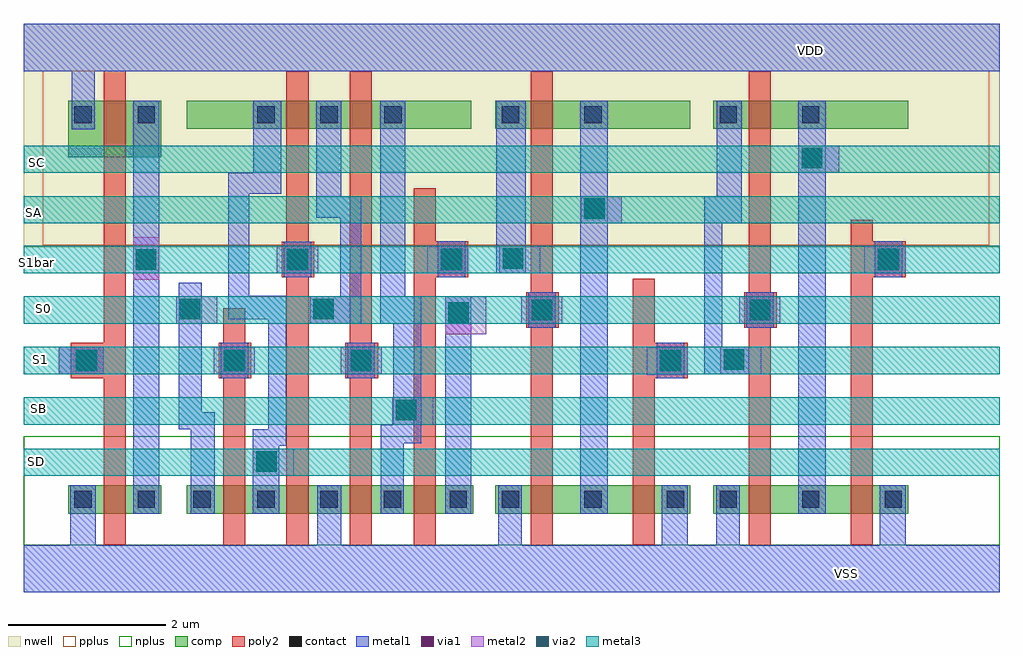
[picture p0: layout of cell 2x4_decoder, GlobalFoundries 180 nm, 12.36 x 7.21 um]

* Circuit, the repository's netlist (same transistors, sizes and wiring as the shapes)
** sch_path: /foss/designs/engn1600-team1/CAD4/2x4_decoder.sch
.subckt 2x4_decoder VDD VSS S0 S1 SA SB SC SD
*.PININFO S0:I S1:I SA:O SB:O SC:O SD:O VSS:B VDD:B
M1 S1bar S1 VSS VSS nfet_03v3 L=0.28u W=0.36u nf=1 m=1
M2 S1bar S1 VDD VDD pfet_03v3 L=0.28u W=0.72u nf=1 m=1
M3 SA S0 VSS VSS nfet_03v3 L=0.28u W=0.36u nf=1 m=1
M4 SA S1 VSS VSS nfet_03v3 L=0.28u W=0.36u nf=1 m=1
M5 SA S0 S1bar VDD pfet_03v3 L=0.28u W=0.36u nf=1 m=1
M9 S0 S1 SB VDD pfet_03v3 L=0.28u W=0.36u nf=1 m=1
M10 S0 S1bar SB VSS nfet_03v3 L=0.28u W=0.36u nf=1 m=1
M11 VSS S1 SB VSS nfet_03v3 L=0.28u W=0.36u nf=1 m=1
M12 S0 S1bar SD VDD pfet_03v3 L=0.28u W=0.36u nf=1 m=1
M13 S0 S1 SD VSS nfet_03v3 L=0.28u W=0.36u nf=1 m=1
M14 VSS S1bar SD VSS nfet_03v3 L=0.28u W=0.36u nf=1 m=1
M6 SC S0 VSS VSS nfet_03v3 L=0.28u W=0.36u nf=1 m=1
M7 SC S1bar VSS VSS nfet_03v3 L=0.28u W=0.36u nf=1 m=1
M8 SC S0 S1 VDD pfet_03v3 L=0.28u W=0.36u nf=1 m=1
.ends

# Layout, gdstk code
import gdstk
lib = gdstk.Library(unit=1e-6, precision=5e-09)
def R(c, l, rs):  # rectangles x0, y0, x1, y1
    for r in rs: c.add(gdstk.rectangle(r[:2], r[2:], *l))
def A(c, l, x, y, w, h, nx, ny, dx, dy):  # array of equal rectangles
    R(c, l, [(x+i*dx, y+j*dy, x+i*dx+w, y+j*dy+h) for i in range(nx) for j in range(ny)])
nwell = (21, 0)
comp = (22, 0)
poly2 = (30, 0)
pplus = (31, 0)
nplus = (32, 0)
contact = (33, 0)
metal1 = (34, 0)
via1 = (35, 0)
metal2 = (36, 0)
via2 = (38, 0)
metal3 = (42, 0)

c_2x4_decoder = lib.new_cell('2x4_decoder')
R(c_2x4_decoder, nwell, [(0,4.07,12.36,6.9)])
R(c_2x4_decoder, comp, [(0.565,0.7,1.745,1.06), (2.07,0.7,5.695,1.06), (5.975,0.7,8.445,1.06), (8.735,0.7,11.205,1.06), (0.565,5.21,1.745,5.93), (2.07,5.57,5.67,5.93), (5.975,5.57,8.445,5.93), (8.735,5.57,11.205,5.93)])
R(c_2x4_decoder, poly2, [(2.53,0.3,2.81,3.3), (3.33,0.3,3.61,6.3), (4.13,0.3,4.41,6.3), (4.94,0.3,5.22,4.82), (6.425,0.3,6.705,6.3), (9.185,0.3,9.465,6.3), (1.015,0.305,1.295,6.31), (7.715,0.305,7.995,3.67), (10.475,0.305,10.755,4.42), (0.6,2.41,1.015,2.86), (2.47,2.41,2.885,2.86), (4.075,2.41,4.49,2.86), (7.995,2.41,8.41,2.86), (6.365,3.05,6.78,3.5), (9.125,3.05,9.54,3.5), (3.27,3.69,3.685,4.14), (5.22,3.695,5.635,4.145), (10.755,3.695,11.17,4.145)])
R(c_2x4_decoder, pplus, [(0.245,4.095,12.23,6.305)])
R(c_2x4_decoder, nplus, [(0,0.3,12.36,1.68)])
A(c_2x4_decoder, contact, 6.055, 0.77, 0.22, 0.22, 3, 1, 1.045, 0)
A(c_2x4_decoder, contact, 8.815, 0.77, 0.22, 0.22, 3, 1, 1.045, 0)
R(c_2x4_decoder, contact, [(0.645,0.77,0.865,0.99), (1.445,0.77,1.665,0.99), (2.15,0.77,2.37,0.99), (2.96,0.77,3.18,0.99), (3.76,0.77,3.98,0.99), (4.565,0.77,4.785,0.99), (5.395,0.77,5.615,0.99), (0.69,2.525,0.91,2.745), (2.56,2.525,2.78,2.745), (2.56,2.525,2.78,2.745), (4.165,2.525,4.385,2.745), (8.085,2.525,8.305,2.745), (6.455,3.165,6.675,3.385), (9.215,3.165,9.435,3.385), (3.36,3.805,3.58,4.025), (5.31,3.81,5.53,4.03), (10.845,3.81,11.065,4.03), (0.645,5.64,0.865,5.86), (1.445,5.64,1.665,5.86), (2.96,5.64,3.18,5.86), (3.76,5.64,3.98,5.86), (4.57,5.64,4.79,5.86), (6.055,5.64,6.275,5.86), (7.1,5.64,7.32,5.86), (8.815,5.64,9.035,5.86), (9.86,5.64,10.08,5.86)])
R(c_2x4_decoder, metal1, [(0,-0.3,12.36,0.3), (0.595,-0.3,0.915,1.055), (3.72,0.295,4.025,1.06), (6.015,0.3,6.31,1.06), (8.085,0.3,8.415,1.06), (8.775,0.3,9.07,1.06), (10.845,0.3,11.175,1.06), (1.39,0.7,1.72,5.93), (2.115,0.7,2.42,1.77), (2.905,0.7,3.24,1.765), (4.525,0.7,4.815,1.825), (5.34,0.7,5.67,3.45), (7.05,0.7,7.4,5.93), (9.81,0.7,10.16,5.93), (2.905,1.555,3.33,1.765), (3.1,1.555,3.33,3.46), (4.525,1.59,4.935,1.825), (4.685,1.59,5.035,3.45), (1.965,1.77,2.255,3.62), (1.98,1.77,2.42,1.985), (2.495,2.41,2.845,2.86), (4.1,2.41,4.45,2.86), (8.02,2.41,8.37,2.86), (0.445,2.465,1.015,2.81), (8.62,2.465,9.185,2.81), (8.62,2.465,8.85,4.715), (6.39,3.05,6.74,3.5), (9.15,3.05,9.5,3.5), (3.625,3.105,4.28,3.45), (4.01,3.105,4.28,4.72), (4.515,3.105,4.835,5.93), (2.59,3.16,3.33,3.46), (2.595,3.16,2.86,5.015), (3.295,3.69,3.645,4.14), (5.245,3.695,5.595,4.145), (10.78,3.695,11.13,4.145), (5.99,3.745,6.36,5.93), (8.78,4.375,9.095,5.93), (3.71,4.445,4.28,4.72), (3.71,4.72,4.025,5.93), (2.59,4.75,3.265,5.015), (2.91,4.75,3.265,5.93), (0.61,5.565,0.9,6.905), (0,6.3,12.36,6.9)])
R(c_2x4_decoder, via1, [(2.95,1.23,3.21,1.49), (2.95,1.23,3.21,1.49), (4.715,1.88,4.975,2.14), (4.715,1.88,4.975,2.14), (0.67,2.505,0.93,2.765), (2.54,2.505,2.8,2.765), (2.54,2.505,2.8,2.765), (4.145,2.505,4.405,2.765), (8.065,2.505,8.325,2.765), (8.87,2.52,9.13,2.78), (5.38,3.115,5.64,3.375), (6.435,3.145,6.695,3.405), (9.195,3.145,9.455,3.405), (1.98,3.16,2.24,3.42), (3.67,3.16,3.93,3.42), (1.42,3.785,1.68,4.045), (3.34,3.785,3.6,4.045), (5.29,3.79,5.55,4.05), (10.825,3.79,11.085,4.05), (6.07,3.8,6.33,4.06), (7.1,4.43,7.36,4.69), (9.855,5.07,10.115,5.33)])
R(c_2x4_decoder, metal2, [(2.905,1.175,3.425,1.52), (2.905,1.175,3.425,1.52), (4.67,1.825,5.19,2.17), (4.67,1.825,5.19,2.17), (7.89,2.46,8.41,2.805), (0.445,2.465,1.015,2.81), (2.41,2.465,2.93,2.81), (4.015,2.465,4.535,2.81), (8.825,2.465,9.345,2.81), (5.34,2.97,5.86,3.45), (1.935,3.105,2.455,3.45), (3.625,3.105,4.145,3.45), (6.305,3.105,6.825,3.45), (9.065,3.105,9.585,3.45), (1.39,3.66,1.72,4.2), (3.21,3.745,3.73,4.09), (5.115,3.745,5.635,4.09), (6.025,3.745,6.545,4.09), (10.65,3.745,11.17,4.09), (7.055,4.375,7.575,4.72), (9.81,5.015,10.33,5.36)])
R(c_2x4_decoder, via2, [(2.95,1.23,3.21,1.49), (2.95,1.23,3.21,1.49), (4.715,1.88,4.975,2.14), (4.715,1.88,4.975,2.14), (0.67,2.505,0.93,2.765), (2.54,2.505,2.8,2.765), (2.54,2.505,2.8,2.765), (4.145,2.505,4.405,2.765), (8.065,2.505,8.325,2.765), (8.87,2.52,9.13,2.78), (5.38,3.115,5.64,3.375), (6.435,3.145,6.695,3.405), (9.195,3.145,9.455,3.405), (1.98,3.16,2.24,3.42), (3.67,3.16,3.93,3.42), (1.42,3.785,1.68,4.045), (3.34,3.785,3.6,4.045), (5.29,3.79,5.55,4.05), (10.825,3.79,11.085,4.05), (6.07,3.8,6.33,4.06), (7.1,4.43,7.36,4.69), (9.855,5.07,10.115,5.33)])
A(c_2x4_decoder, metal3, 0, 1.825, 12.36, 0.345, 1, 4, 0, 0.64)
R(c_2x4_decoder, metal3, [(0,1.175,12.36,1.52), (0,4.375,12.36,4.72), (0,5.015,12.36,5.36)])
c_2x4_decoder.add(gdstk.Label('SD', (0.16,1.355), layer=42, texttype=10))
c_2x4_decoder.add(gdstk.Label('SB', (0.195,2.03), layer=42, texttype=10))
c_2x4_decoder.add(gdstk.Label('S1', (0.21,2.65), layer=42, texttype=10))
c_2x4_decoder.add(gdstk.Label('S0', (0.255,3.3), layer=42, texttype=10))
c_2x4_decoder.add(gdstk.Label('S1bar', (0.165,3.88), layer=42, texttype=10))
c_2x4_decoder.add(gdstk.Label('SA', (0.13,4.51), layer=42, texttype=10))
c_2x4_decoder.add(gdstk.Label('SC', (0.165,5.15), layer=42, texttype=10))
c_2x4_decoder.add(gdstk.Label('VSS', (10.42,-0.065), layer=34, texttype=10))
c_2x4_decoder.add(gdstk.Label('VDD', (9.965,6.56), layer=34, texttype=10))

lib.write_gds('2x4_decoder.gds')
